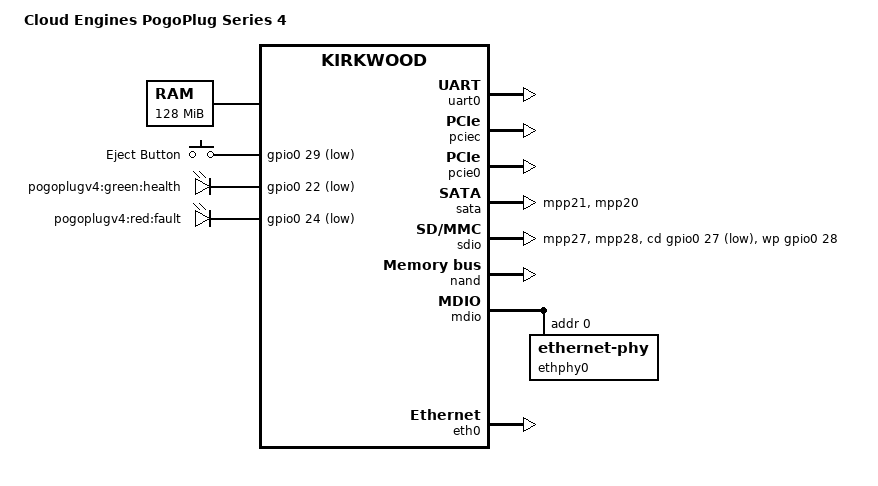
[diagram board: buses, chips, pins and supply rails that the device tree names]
// SPDX-License-Identifier: GPL-2.0
/*
 * kirkwood-pogoplug-series-4.dts - Device tree file for PogoPlug Series 4
 * inspired by the board files made by Kevin Mihelich for ArchLinux,
 * and their DTS file.
 *
 * Copyright (C) 2015 Linus Walleij <linus.walleij@linaro.org>
 */

/dts-v1/;

#include "kirkwood.dtsi"
#include "kirkwood-6192.dtsi"
#include <dt-bindings/input/linux-event-codes.h>

/ {
	model = "Cloud Engines PogoPlug Series 4";
	compatible = "cloudengines,pogoplugv4", "marvell,kirkwood-88f6192",
		     "marvell,kirkwood";

	memory {
		device_type = "memory";
		reg = <0x00000000 0x08000000>;
	};

	chosen {
		stdout-path = "uart0:115200n8";
	};

	gpio_keys {
		compatible = "gpio-keys";
		#address-cells = <1>;
		#size-cells = <0>;
		pinctrl-0 = <&pmx_button_eject>;
		pinctrl-names = "default";

		eject {
			debounce-interval = <50>;
			wakeup-source;
			linux,code = <KEY_EJECTCD>;
			label = "Eject Button";
			gpios = <&gpio0 29 GPIO_ACTIVE_LOW>;
		};
	};

	gpio-leds {
		compatible = "gpio-leds";
		pinctrl-0 = <&pmx_led_green &pmx_led_red>;
		pinctrl-names = "default";

		health {
			label = "pogoplugv4:green:health";
			gpios = <&gpio0 22 GPIO_ACTIVE_LOW>;
			default-state = "on";
		};
		fault {
			label = "pogoplugv4:red:fault";
			gpios = <&gpio0 24 GPIO_ACTIVE_LOW>;
		};
	};
};

&pinctrl {
	pmx_sata0: pmx-sata0 {
		marvell,pins = "mpp21";
		marvell,function = "sata0";
	};

	pmx_sata1: pmx-sata1 {
		marvell,pins = "mpp20";
		marvell,function = "sata1";
	};

	pmx_sdio_cd: pmx-sdio-cd {
		marvell,pins = "mpp27";
		marvell,function = "gpio";
	};

	pmx_sdio_wp: pmx-sdio-wp {
		marvell,pins = "mpp28";
		marvell,function = "gpio";
	};

	pmx_button_eject: pmx-button-eject {
		marvell,pins = "mpp29";
		marvell,function = "gpio";
	};

	pmx_led_green: pmx-led-green {
		marvell,pins = "mpp22";
		marvell,function = "gpio";
	};

	pmx_led_red: pmx-led-red {
		marvell,pins = "mpp24";
		marvell,function = "gpio";
	};
};

&uart0 {
	status = "okay";
};

/*
 * This PCIE controller has a USB 3.0 XHCI controller at 1,0
 */
&pciec {
	status = "okay";
};

&pcie0 {
	status = "okay";
};

&sata {
	status = "okay";
	pinctrl-0 = <&pmx_sata0 &pmx_sata1>;
	pinctrl-names = "default";
	nr-ports = <1>;
};

&sdio {
	status = "okay";
	pinctrl-0 = <&pmx_sdio &pmx_sdio_cd &pmx_sdio_wp>;
	pinctrl-names = "default";
	cd-gpios = <&gpio0 27 GPIO_ACTIVE_LOW>;
	wp-gpios = <&gpio0 28 GPIO_ACTIVE_HIGH>;
};

&nand {
	/* 128 MiB of NAND flash */
	chip-delay = <40>;
	status = "okay";
	partitions {
		compatible = "fixed-partitions";
		#address-cells = <1>;
		#size-cells = <1>;

		partition@0 {
			label = "u-boot";
			reg = <0x00000000 0x200000>;
			read-only;
		};

		partition@200000 {
			label = "uImage";
			reg = <0x00200000 0x300000>;
		};

		partition@500000 {
			label = "uImage2";
			reg = <0x00500000 0x300000>;
		};

		partition@800000 {
			label = "failsafe";
			reg = <0x00800000 0x800000>;
		};

		partition@1000000 {
			label = "root";
			reg = <0x01000000 0x7000000>;
		};
	};
};

&mdio {
	status = "okay";

	ethphy0: ethernet-phy@0 {
		reg = <0>;
	};
};

&eth0 {
	status = "okay";
	ethernet0-port@0 {
		phy-handle = <&ethphy0>;
	};
};
